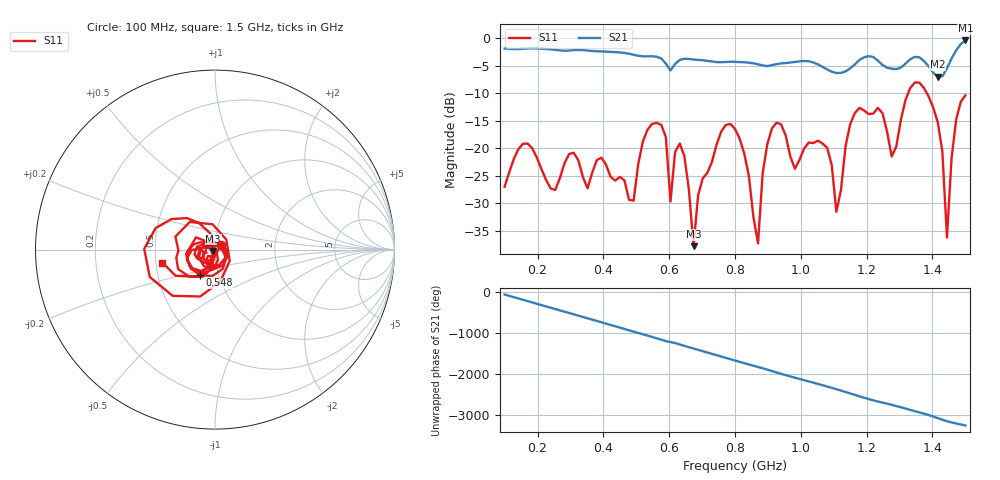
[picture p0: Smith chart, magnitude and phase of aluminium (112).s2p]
! NanoVNA-App
! Date: 2025-09-26 09:58:56
! Start: 100MHz Stop: 1,5GHz Points: 101
! S-Parameter data: F S11 S21 S12 S22
# Hz S RI R 50
!  Frequency  S11_Real  S11_Imag  S21_Real  S21_Imag  S12_Real  S12_Imag  S22_Real  S22_Imag
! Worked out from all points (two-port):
!   101 points, 100 MHz to 1.5 GHz, reference 50 ohm
!   highest |S21| = -0.46 dB at 1.5 GHz (marker M1); lowest = -7.0 dB at 1.416 GHz (marker M2)
!   |S21| within 3 dB of the highest: start of sweep to 564.2 MHz; 1.461 GHz to end of sweep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
!   lowest |S11| = -37.7 dB at 674 MHz (marker M3), VSWR 1.03, Z = 49 - j0.816 ohm
!   |S11| at or under -10 dB: start of sweep to 1.326 GHz; 1.383 GHz to end of sweep
!   S12 and S22 are empty: the file has one direction only
!   S11 on the Smith chart (normalised r, x): 100 MHz: 1.07, +0.06; 548 MHz: 0.81, -0.24; 1.5 GHz: 0.54, -0.09
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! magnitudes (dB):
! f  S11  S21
! 100 MHz  -27.0  -1.9
! 156 MHz  -19.2  -2.0
! 338 MHz  -25.2  -2.2
! 492 MHz  -29.5  -3.1
! 548 MHz  -15.6  -3.3
! 576 MHz  -15.8  -3.7
! 604 MHz  -29.6  -5.9
! 646 MHz  -21.4  -3.8
! 674 MHz  -37.7  -3.9
! 702 MHz  -25.4  -4.0
! 800 MHz  -16.5  -4.3
! 870 MHz  -37.2  -4.8
! 912 MHz  -16.4  -4.9
! 1.038 GHz  -19.0  -4.4
! 1.108 GHz  -31.5  -6.4
! 1.178 GHz  -12.7  -4.0
! 1.276 GHz  -21.5  -5.6
! 1.346 GHz  -8.1  -3.4
! 1.416 GHz  -15.3  -7.0
! 1.444 GHz  -36.2  -5.5
! 1.472 GHz  -14.8  -2.2
! 1.5 GHz  -10.4  -0.5
